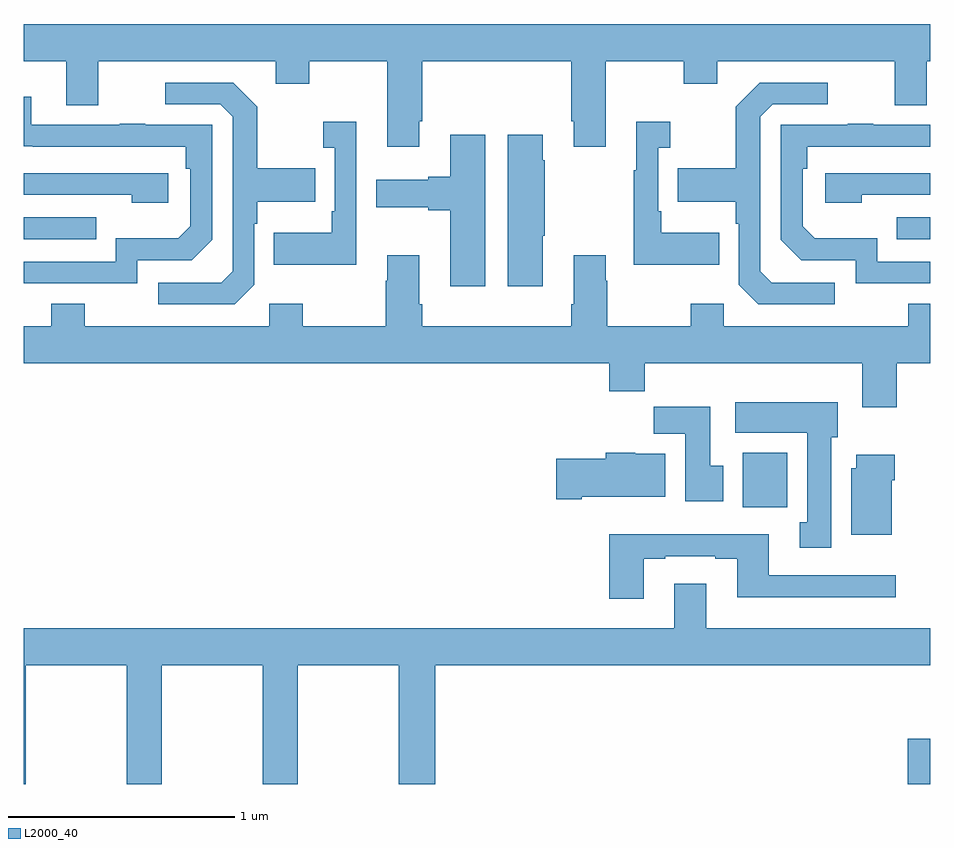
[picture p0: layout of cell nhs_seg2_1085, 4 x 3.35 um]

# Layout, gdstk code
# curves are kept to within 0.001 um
import gdstk
lib = gdstk.Library(unit=1e-6, precision=1e-09)
def R(c, l, rs):  # rectangles x0, y0, x1, y1
    for r in rs: c.add(gdstk.rectangle(r[:2], r[2:], *l))
def P(c, l, *ps):  # polygons
    for p in ps: c.add(gdstk.Polygon(p, *l))
L2000_40 = (2000, 40)

nhs_seg2_1085 = lib.new_cell('nhs_seg2_1085')
R(nhs_seg2_1085, L2000_40, [(170.9,625.8,171,625.999), (170.171,627.02,170.368,627.262), (167,628.203,167.321,628.299), (170.851,628.203,171,628.299)])
P(nhs_seg2_1085, L2000_40, [(168.745,628.723),(168.758,628.723),(168.758,628.988),(169.415,628.988),(169.415,628.723),(169.427,628.723),(169.427,628.611),(169.567,628.611),(169.567,628.988),(169.912,628.988),(169.912,628.889),(170.059,628.889),(170.059,628.988),(170.843,628.988),(170.843,628.794),(170.983,628.794),(170.983,628.988),(171,628.988),(171,629.152),(167,629.152),(167,628.988),(167.189,628.988),(167.189,628.794),(167.329,628.794),(167.329,628.988),(168.113,628.988),(168.113,628.889),(168.261,628.889),(168.261,628.988),(168.605,628.988),(168.605,628.611),(168.745,628.611)],
  [(168.018,628.002),(168.018,628.271),(168.031,628.271),(168.031,628.367),(168.287,628.367),(168.287,628.515),(168.031,628.515),(168.031,628.787),(167.925,628.893),(167.625,628.893),(167.625,628.797),(167.868,628.797),(167.922,628.743),(167.922,628.062),(167.871,628.011),(167.595,628.011),(167.595,627.915),(167.931,627.915)],
  [(170.578,628.011),(170.301,628.011),(170.25,628.062),(170.25,628.743),(170.304,628.797),(170.548,628.797),(170.548,628.893),(170.247,628.893),(170.142,628.787),(170.142,628.515),(169.885,628.515),(169.885,628.367),(170.142,628.367),(170.142,628.271),(170.154,628.271),(170.154,628.002),(170.241,627.915),(170.578,627.915)],
  [(167.502,628.11),(167.742,628.11),(167.832,628.2),(167.832,628.707),(167.537,628.707),(167.537,628.712),(167.425,628.712),(167.425,628.707),(167.035,628.707),(167.035,628.831),(167,628.831),(167,628.612),(167.716,628.611),(167.716,628.514),(167.736,628.514),(167.736,628.26),(167.683,628.207),(167.406,628.207),(167.406,628.104),(167,628.104),(167,628.008),(167.502,628.008)],
  [(168.468,628.72),(168.321,628.72),(168.321,628.607),(168.372,628.607),(168.372,628.327),(168.36,628.327),(168.36,628.231),(168.103,628.231),(168.103,628.091),(168.468,628.091)],
  [(170.069,628.231),(169.813,628.231),(169.813,628.327),(169.8,628.327),(169.8,628.607),(169.852,628.607),(169.852,628.72),(169.703,628.72),(169.703,628.507),(169.692,628.507),(169.692,628.091),(170.069,628.091)],
  [(171,628.104),(170.766,628.104),(170.766,628.207),(170.489,628.207),(170.436,628.26),(170.436,628.514),(170.456,628.514),(170.456,628.611),(171,628.611),(171,628.707),(170.747,628.707),(170.747,628.712),(170.635,628.712),(170.635,628.707),(170.34,628.707),(170.34,628.2),(170.43,628.11),(170.67,628.11),(170.67,628.008),(171,628.008)],
  [(169.036,628.663),(168.881,628.663),(168.881,628.478),(168.785,628.478),(168.785,628.465),(168.555,628.465),(168.555,628.343),(168.785,628.343),(168.785,628.331),(168.881,628.331),(168.881,627.996),(169.036,627.996)],
  [(169.291,628.219),(169.299,628.219),(169.299,628.55),(169.291,628.55),(169.291,628.663),(169.136,628.663),(169.136,627.996),(169.291,627.996)],
  [(170.696,628.398),(171,628.398),(171,628.494),(170.535,628.494),(170.535,628.364),(170.696,628.364)],
  [(167.638,628.494),(167,628.494),(167,628.398),(167.477,628.398),(167.477,628.364),(167.638,628.364)],
  [(169.583,627.532),(169.739,627.532),(169.739,627.656),(170.699,627.656),(170.699,627.462),(170.852,627.462),(170.852,627.656),(171,627.656),(171,627.919),(170.902,627.919),(170.902,627.82),(170.088,627.82),(170.088,627.919),(169.942,627.919),(169.942,627.82),(169.575,627.82),(169.575,628.019),(169.567,628.019),(169.567,628.132),(169.427,628.132),(169.427,627.916),(169.415,627.916),(169.415,627.82),(168.758,627.82),(168.758,627.916),(168.745,627.916),(168.745,628.132),(168.605,628.132),(168.605,628.019),(168.598,628.019),(168.598,627.82),(168.231,627.82),(168.231,627.919),(168.084,627.919),(168.084,627.82),(167.271,627.82),(167.271,627.919),(167.123,627.919),(167.123,627.82),(167,627.82),(167,627.656),(169.583,627.656)],
  [(170.563,627.33),(170.59,627.33),(170.59,627.484),(170.139,627.484),(170.139,627.35),(170.456,627.35),(170.456,626.954),(170.423,626.954),(170.423,626.841),(170.563,626.841)],
  [(170.086,627.204),(170.029,627.204),(170.029,627.463),(169.78,627.463),(169.78,627.344),(169.919,627.344),(169.919,627.048),(170.086,627.048)],
  [(169.462,627.068),(169.831,627.068),(169.831,627.256),(169.698,627.256),(169.698,627.262),(169.568,627.262),(169.568,627.234),(169.35,627.234),(169.35,627.056),(169.462,627.056)],
  [(170.83,627.14),(170.843,627.14),(170.843,627.253),(170.672,627.253),(170.672,627.192),(170.651,627.192),(170.651,626.9),(170.83,626.9)],
  [(169.735,626.793),(169.831,626.793),(169.831,626.805),(170.051,626.805),(170.051,626.793),(170.147,626.793),(170.147,626.624),(170.848,626.624),(170.848,626.721),(170.287,626.721),(170.287,626.902),(169.583,626.902),(169.583,626.616),(169.735,626.616)],
  [(167.01,626.324),(167.455,626.324),(167.455,625.8),(167.61,625.8),(167.61,626.324),(168.055,626.324),(168.055,625.8),(168.21,625.8),(168.21,626.324),(168.655,626.324),(168.655,625.8),(168.815,625.8),(168.815,626.324),(171,626.324),(171,626.488),(170.011,626.488),(170.011,626.683),(169.871,626.683),(169.871,626.488),(167,626.488),(167,625.8),(167.01,625.8)])

lib.write_gds('nhs_seg2_1085.gds')
